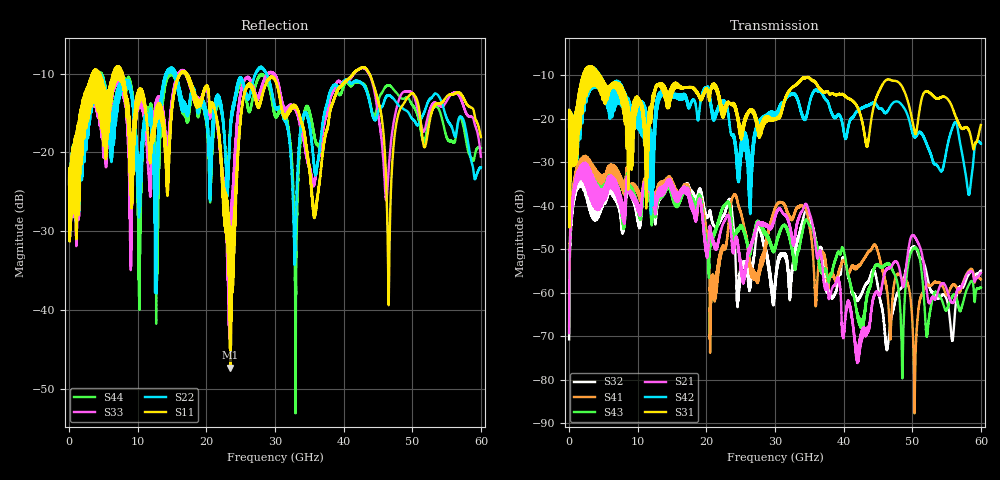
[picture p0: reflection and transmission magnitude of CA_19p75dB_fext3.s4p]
!4 port subset of full cascaded channels using these ports:7 37 8 38
# Hz S RI R 50
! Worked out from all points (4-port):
!   6000 points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, 10 MHz to 60 GHz, reference 50 ohm
!   strongest paths, dB at 10 MHz, 15.01 GHz, 30.01 GHz, 45.01 GHz, 60 GHz:
!     S31: -21.9, -12.9, -20.1, -14.2, -21.4
!     S42: -21.9, -14.4, -18.7, -17.3, -25.7
!     S21: -69.2, -36.4, -42.8, -60.2, -55.4
!     S43: -69.3, -37.8, -50.0, -53.7, -58.8
!     S41: -67.6, -35.4, -40.6, -50.7, -56.9
!     S32: -70.7, -36.5, -59.4, -58.8, -54.9
!   lowest |S11| = -47.3 dB at 23.49 GHz (marker M1), VSWR 1.01, Z = 49.6 + j0.198 ohm
!   |S11| at or under -10 dB: 7.77 GHz to 16.17 GHz (8.399 GHz wide, 70.2 % of centre); 17.2 GHz to 41.39 GHz (24.19 GHz wide, 82.6 % of centre); 43.75 GHz to end of sweep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
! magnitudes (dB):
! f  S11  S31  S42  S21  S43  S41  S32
! 10 MHz  -24.0  -21.9  -21.9  -69.2  -69.3  -67.6  -70.7
! 1.81 GHz  -14.3  -12.2  -12.7  -33.8  -33.8  -32.0  -35.7
! 20.77 GHz  -14.1  -12.5  -18.6  -46.7  -47.6  -57.6  -42.9
! 23.49 GHz  -47.3  -16.6  -22.7  -44.1  -40.6  -40.2  -38.7
! 34.59 GHz  -19.5  -10.6  -19.7  -39.7  -43.2  -41.2  -41.3
! 42 GHz  -9.6  -17.2  -18.2  -73.0  -65.4  -53.9  -61.5
! 60 GHz  -18.1  -21.4  -25.7  -55.4  -58.8  -56.9  -54.9
